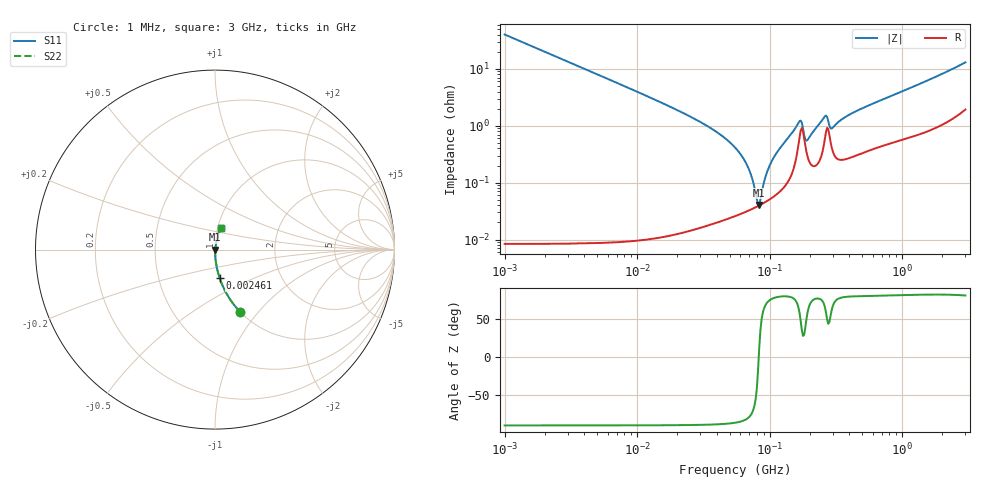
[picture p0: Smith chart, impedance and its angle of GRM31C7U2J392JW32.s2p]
!Murata Part Number: GRM31C7U2J392JW32
!These Parameters are Measured in Series Mode Connection
!Data Generated on Mar 30, 2021
!  o--ll--o
!Port1  Port2
!  o------o
!Operation Temp=25[degC], DC Bias Voltage=0[V]
!Freq. Start=1000[kHz] Stop=3[GHz] 401[Steps]
# Hz S RI R 50
!Freq.(Hz) S11(Real) S11(Imag) S21(Real) S21(Imag) S12(Real) S12(Imag) S22(Real) S22(Imag)
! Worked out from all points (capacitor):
!   401 points, 1 MHz to 3 GHz, reference 50 ohm
!   read as one part in series: C = 3.96 nF near 1.041 MHz
!   lowest |Z| = 40.5 mohm at 83.39 MHz (marker M1)
!   series resonance near 82.74 MHz, so ESL is about 940 pH
!   S11 on the Smith chart (normalised r, x): 1 MHz: 1.00, -0.80; 2.461 MHz: 1.00, -0.33; 3 GHz: 1.04, +0.26
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1000000  0.1394 -0.3462  0.8606 0.3462  0.8606 0.3462  0.1394 -0.3462
2461366  0.0261 -0.1591  0.9739 0.1591  0.9739 0.1591  0.0261 -0.1591
3823119  0.011 -0.1039  0.989 0.1039  0.989 0.1039  0.011 -0.1039
1.461624e7  0.000817 -0.0266  0.9992 0.0266  0.9992 0.0266  0.000817 -0.0266
3.387922e7  0.000273 -0.00988  0.9997 0.00988  0.9997 0.00988  0.000273 -0.00988
5.477226e7  0.000275 -0.00414  0.9997 0.00414  0.9997 0.00414  0.000275 -0.00414
6.826239e7  0.000321 -0.0019  0.9997 0.0019  0.9997 0.0019  0.000321 -0.0019
7.395247e7  0.000347 -0.00111  0.9997 0.00111  0.9997 0.00111  0.000347 -0.00111
8.011685e7  0.000378 -0.000319  0.9996 0.000319  0.9996 0.000319  0.000378 -0.000319
8.338914e7  0.000397 7.8e-05  0.9996 -7.8e-05  0.9996 -7.8e-05  0.000397 7.8e-05
9.402997e7  0.000465 0.00129  0.9995 -0.00129  0.9995 -0.00129  0.000465 0.00129
1.039275e8  0.000544 0.00235  0.9995 -0.00235  0.9995 -0.00235  0.000544 0.00235
1.646891e8  0.00463 0.0102  0.9954 -0.0102  0.9954 -0.0102  0.00463 0.0102
1.714156e8  0.00824 0.00904  0.9918 -0.00904  0.9918 -0.00904  0.00824 0.00904
1.894586e8  0.0035 0.00417  0.9965 -0.00417  0.9965 -0.00417  0.0035 0.00417
2.094008e8  0.00204 0.00717  0.998 -0.00717  0.998 -0.00717  0.00204 0.00717
2.609752e8  0.00598 0.0132  0.994 -0.0132  0.994 -0.0132  0.00598 0.0132
2.884452e8  0.00518 0.00729  0.9948 -0.00729  0.9948 -0.00729  0.00518 0.00729
3.002264e8  0.00354 0.00859  0.9965 -0.00859  0.9965 -0.00859  0.00354 0.00859
4.0536e8  0.00297 0.0156  0.997 -0.0156  0.997 -0.0156  0.00297 0.0156
8.005644e8  0.00582 0.0317  0.9942 -0.0317  0.9942 -0.0317  0.00582 0.0317
3e9  0.0343 0.122  0.9657 -0.122  0.9657 -0.122  0.0343 0.122
